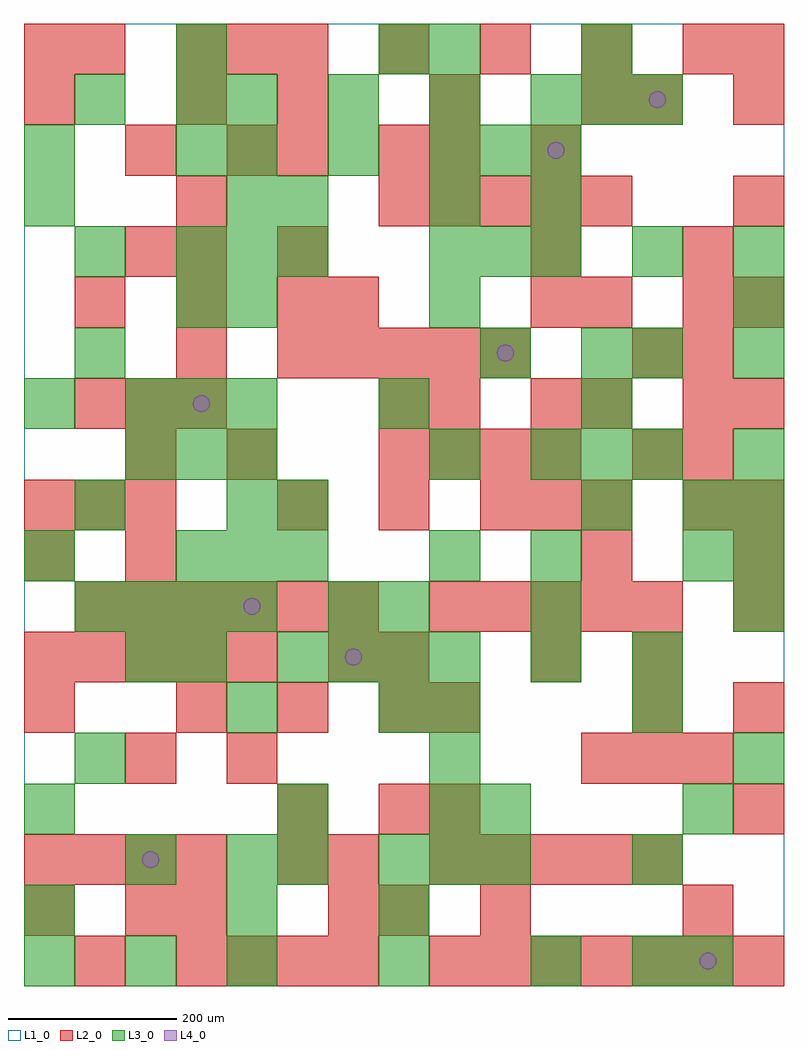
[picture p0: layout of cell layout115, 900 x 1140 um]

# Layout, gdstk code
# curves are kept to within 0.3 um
import gdstk
lib = gdstk.Library(unit=1e-6, precision=1e-09)
def R(c, l, rs):  # rectangles x0, y0, x1, y1
    for r in rs: c.add(gdstk.rectangle(r[:2], r[2:], *l))
def A(c, l, x, y, w, h, nx, ny, dx, dy):  # array of equal rectangles
    R(c, l, [(x+i*dx, y+j*dy, x+i*dx+w, y+j*dy+h) for i in range(nx) for j in range(ny)])
def P(c, l, *ps):  # polygons
    for p in ps: c.add(gdstk.Polygon(p, *l))
L1_0 = (1, 0)
L2_0 = (2, 0)
L3_0 = (3, 0)
L4_0 = (4, 0)

layout115 = lib.new_cell('layout115')
R(layout115, L1_0, [(0,0,900,1140)])
A(layout115, L2_0, 180, 0, 60, 60, 4, 1, 60, 0)
A(layout115, L2_0, 480, 0, 60, 60, 7, 1, 60, 0)
A(layout115, L2_0, 0, 120, 60, 60, 4, 1, 60, 0)
A(layout115, L2_0, 480, 120, 60, 60, 5, 2, 60, 300)
A(layout115, L2_0, 840, 180, 60, 60, 1, 3, 0, 120)
A(layout115, L2_0, 240, 240, 60, 60, 1, 3, 0, 360)
A(layout115, L2_0, 660, 240, 60, 60, 3, 1, 60, 0)
A(layout115, L2_0, 180, 300, 60, 60, 3, 1, 120, 0)
A(layout115, L2_0, 0, 360, 60, 60, 5, 1, 60, 0)
A(layout115, L2_0, 420, 360, 60, 60, 1, 3, 0, 300)
A(layout115, L2_0, 60, 420, 60, 60, 6, 1, 60, 0)
A(layout115, L2_0, 0, 540, 60, 60, 3, 1, 60, 0)
A(layout115, L2_0, 300, 540, 60, 60, 3, 1, 120, 0)
A(layout115, L2_0, 600, 540, 60, 60, 1, 3, 0, 120)
A(layout115, L2_0, 660, 540, 60, 60, 1, 3, 0, 120)
A(layout115, L2_0, 780, 540, 60, 60, 1, 6, 0, 60)
A(layout115, L2_0, 840, 540, 60, 60, 1, 5, 0, 120)
A(layout115, L2_0, 420, 600, 60, 60, 4, 1, 60, 0)
A(layout115, L2_0, 60, 660, 60, 60, 3, 1, 60, 0)
A(layout115, L2_0, 300, 720, 60, 60, 5, 1, 60, 0)
A(layout115, L2_0, 60, 780, 60, 60, 3, 1, 120, 0)
A(layout115, L2_0, 420, 900, 60, 60, 5, 1, 60, 0)
A(layout115, L2_0, 300, 1020, 60, 60, 3, 1, 180, 0)
A(layout115, L2_0, 180, 1080, 60, 60, 3, 1, 60, 0)
A(layout115, L2_0, 420, 1080, 60, 60, 4, 1, 120, 0)
R(layout115, L2_0, [(60,0,120,60), (0,60,60,120), (120,60,180,120), (180,60,240,120), (360,60,420,120), (420,60,480,120), (540,60,600,120), (780,60,840,120), (300,120,360,180), (360,120,420,180), (300,180,360,240), (420,180,480,240), (480,180,540,240), (120,240,180,300), (0,300,60,360), (480,300,540,360), (720,300,780,360), (360,360,420,420), (600,360,660,420), (720,360,780,420), (0,480,60,540), (120,480,180,540), (660,480,720,540), (840,480,900,540), (120,600,180,660), (720,600,780,660), (480,660,540,720), (180,720,240,780), (720,720,780,780), (360,780,420,840), (120,840,180,900), (180,840,240,900), (300,840,360,900), (600,840,660,900), (180,900,240,960), (120,960,180,1020), (300,960,360,1020), (480,960,540,1020), (600,960,660,1020), (0,1020,60,1080), (180,1020,240,1080), (720,1020,780,1080), (0,1080,60,1140), (60,1080,120,1140), (840,1080,900,1140)])
A(layout115, L3_0, 0, 0, 60, 60, 3, 1, 120, 0)
A(layout115, L3_0, 420, 120, 60, 60, 3, 1, 60, 0)
A(layout115, L3_0, 300, 180, 60, 60, 1, 3, 0, 360)
A(layout115, L3_0, 480, 180, 60, 60, 1, 3, 0, 60)
A(layout115, L3_0, 240, 300, 60, 60, 1, 3, 0, 240)
A(layout115, L3_0, 300, 360, 60, 60, 4, 1, 60, 0)
A(layout115, L3_0, 600, 360, 60, 60, 1, 3, 0, 60)
A(layout115, L3_0, 60, 420, 60, 60, 4, 1, 60, 0)
A(layout115, L3_0, 840, 420, 60, 60, 1, 4, 0, 60)
A(layout115, L3_0, 180, 480, 60, 60, 3, 2, 60, 360)
A(layout115, L3_0, 120, 600, 60, 60, 3, 2, 60, 60)
A(layout115, L3_0, 600, 600, 60, 60, 3, 1, 60, 0)
A(layout115, L3_0, 840, 720, 60, 60, 1, 3, 0, 60)
A(layout115, L3_0, 480, 840, 60, 60, 3, 1, 60, 0)
A(layout115, L3_0, 180, 960, 60, 60, 1, 3, 0, 60)
A(layout115, L3_0, 240, 960, 60, 60, 3, 1, 120, 0)
A(layout115, L3_0, 240, 1020, 60, 60, 4, 1, 120, 0)
R(layout115, L3_0, [(420,0,480,60), (600,0,660,60), (720,0,780,60), (780,0,840,60), (0,60,60,120), (240,60,300,120), (420,60,480,120), (120,120,180,180), (240,120,300,180), (300,120,360,180), (720,120,780,180), (0,180,60,240), (540,180,600,240), (780,180,840,240), (60,240,120,300), (840,240,900,300), (420,300,480,360), (720,300,780,360), (120,360,180,420), (180,360,240,420), (720,360,780,420), (360,420,420,480), (420,420,480,480), (0,480,60,540), (480,480,540,540), (780,480,840,540), (60,540,120,600), (660,540,720,600), (780,540,840,600), (480,600,540,660), (0,660,60,720), (420,660,480,720), (660,660,720,720), (60,720,120,780), (540,720,600,780), (660,720,720,780), (720,720,780,780), (180,780,240,840), (480,780,540,840), (60,840,120,900), (720,840,780,900), (0,900,60,960), (240,900,300,960), (480,900,540,960), (600,900,660,960), (0,960,60,1020), (540,960,600,1020), (600,960,660,1020), (60,1020,120,1080), (660,1020,720,1080), (720,1020,780,1080), (420,1080,480,1140), (480,1080,540,1140), (660,1080,720,1140)])
P(layout115, L4_0, [(160,150),(159.239,153.827),(157.071,157.071),(153.827,159.239),(150,160),(146.173,159.239),(142.929,157.071),(140.761,153.827),(140,150),(140.761,146.173),(142.929,142.929),(146.173,140.761),(150,140),(153.827,140.761),(157.071,142.929),(159.239,146.173)],
  [(220,690),(219.239,693.827),(217.071,697.071),(213.827,699.239),(210,700),(206.173,699.239),(202.929,697.071),(200.761,693.827),(200,690),(200.761,686.173),(202.929,682.929),(206.173,680.761),(210,680),(213.827,680.761),(217.071,682.929),(219.239,686.173)],
  [(280,450),(279.239,453.827),(277.071,457.071),(273.827,459.239),(270,460),(266.173,459.239),(262.929,457.071),(260.761,453.827),(260,450),(260.761,446.173),(262.929,442.929),(266.173,440.761),(270,440),(273.827,440.761),(277.071,442.929),(279.239,446.173)],
  [(400,390),(399.239,393.827),(397.071,397.071),(393.827,399.239),(390,400),(386.173,399.239),(382.929,397.071),(380.761,393.827),(380,390),(380.761,386.173),(382.929,382.929),(386.173,380.761),(390,380),(393.827,380.761),(397.071,382.929),(399.239,386.173)],
  [(580,750),(579.239,753.827),(577.071,757.071),(573.827,759.239),(570,760),(566.173,759.239),(562.929,757.071),(560.761,753.827),(560,750),(560.761,746.173),(562.929,742.929),(566.173,740.761),(570,740),(573.827,740.761),(577.071,742.929),(579.239,746.173)],
  [(640,990),(639.239,993.827),(637.071,997.071),(633.827,999.239),(630,1000),(626.173,999.239),(622.929,997.071),(620.761,993.827),(620,990),(620.761,986.173),(622.929,982.929),(626.173,980.761),(630,980),(633.827,980.761),(637.071,982.929),(639.239,986.173)],
  [(760,1050),(759.239,1053.827),(757.071,1057.071),(753.827,1059.239),(750,1060),(746.173,1059.239),(742.929,1057.071),(740.761,1053.827),(740,1050),(740.761,1046.173),(742.929,1042.929),(746.173,1040.761),(750,1040),(753.827,1040.761),(757.071,1042.929),(759.239,1046.173)],
  [(820,30),(819.239,33.827),(817.071,37.071),(813.827,39.239),(810,40),(806.173,39.239),(802.929,37.071),(800.761,33.827),(800,30),(800.761,26.173),(802.929,22.929),(806.173,20.761),(810,20),(813.827,20.761),(817.071,22.929),(819.239,26.173)])

lib.write_gds('layout115.gds')
